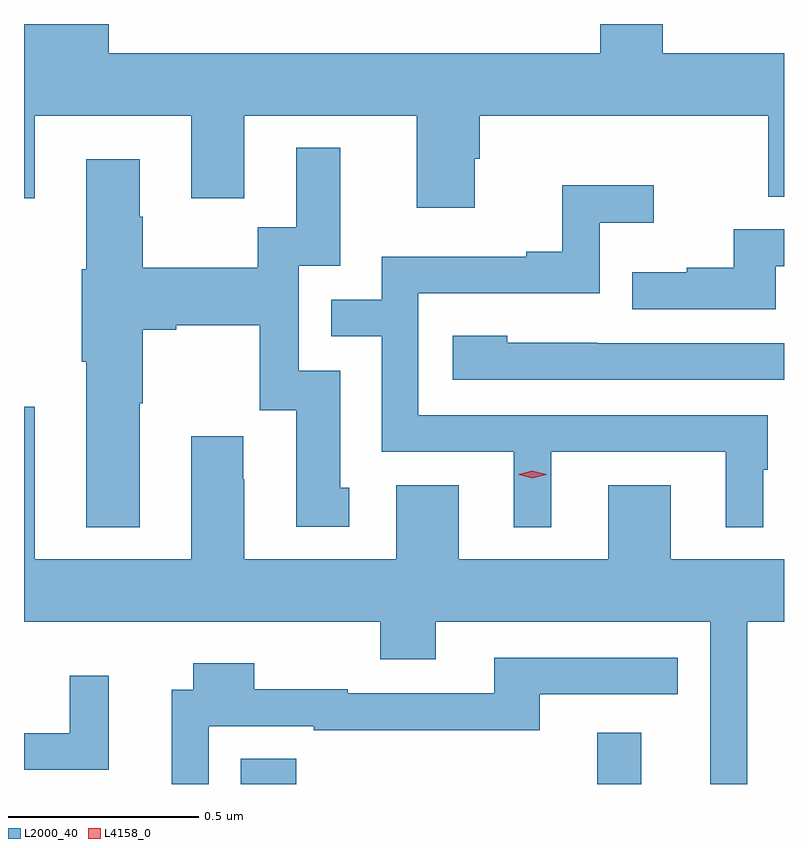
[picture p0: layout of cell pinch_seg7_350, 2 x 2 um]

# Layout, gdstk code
import gdstk
lib = gdstk.Library(unit=1e-6, precision=1e-09)
def R(c, l, rs):  # rectangles x0, y0, x1, y1
    for r in rs: c.add(gdstk.rectangle(r[:2], r[2:], *l))
def P(c, l, *ps):  # polygons
    for p in ps: c.add(gdstk.Polygon(p, *l))
L2000_40 = (2000, 40)
L4158_0 = (4158, 0)

pinch_seg7_350 = lib.new_cell('pinch_seg7_350')
R(pinch_seg7_350, L2000_40, [(438.898,1070.785,439.044,1070.852), (439.835,1070.785,439.951,1070.92)])
P(pinch_seg7_350, L2000_40, [(439.513,1072.431),(439.526,1072.431),(439.526,1072.544),(440.286,1072.544),(440.286,1072.33),(440.327,1072.33),(440.327,1072.708),(440.008,1072.708),(440.008,1072.785),(439.844,1072.785),(439.844,1072.708),(438.55,1072.708),(438.55,1072.785),(438.327,1072.785),(438.327,1072.326),(438.355,1072.326),(438.355,1072.544),(438.767,1072.544),(438.767,1072.326),(438.907,1072.326),(438.907,1072.544),(439.361,1072.544),(439.361,1072.302),(439.513,1072.302)],
  [(438.631,1071.787),(438.639,1071.787),(438.639,1071.98),(438.727,1071.98),(438.727,1071.992),(438.947,1071.992),(438.947,1071.768),(439.043,1071.768),(439.043,1071.462),(439.183,1071.462),(439.183,1071.564),(439.159,1071.564),(439.159,1071.873),(439.05,1071.873),(439.05,1072.149),(439.159,1072.149),(439.159,1072.459),(439.043,1072.459),(439.043,1072.25),(438.942,1072.25),(438.942,1072.144),(438.639,1072.144),(438.639,1072.278),(438.631,1072.278),(438.631,1072.429),(438.491,1072.429),(438.491,1072.14),(438.479,1072.14),(438.479,1071.896),(438.491,1071.896),(438.491,1071.461),(438.631,1071.461)],
  [(439.714,1071.66),(440.174,1071.66),(440.174,1071.461),(440.272,1071.461),(440.272,1071.612),(440.284,1071.612),(440.284,1071.756),(439.365,1071.756),(439.365,1072.077),(439.842,1072.077),(439.842,1072.262),(439.984,1072.262),(439.984,1072.361),(439.744,1072.361),(439.744,1072.186),(439.649,1072.186),(439.649,1072.173),(439.269,1072.173),(439.269,1072.059),(439.135,1072.059),(439.135,1071.963),(439.269,1071.963),(439.269,1071.66),(439.616,1071.66),(439.616,1071.461),(439.714,1071.461)],
  [(440.305,1072.148),(440.327,1072.148),(440.327,1072.245),(440.195,1072.245),(440.195,1072.144),(440.071,1072.144),(440.071,1072.132),(439.927,1072.132),(439.927,1072.035),(440.305,1072.035)],
  [(440.327,1071.945),(439.835,1071.945),(439.835,1071.946),(439.599,1071.946),(439.599,1071.964),(439.455,1071.964),(439.455,1071.849),(440.327,1071.849)],
  [(440.23,1071.212),(440.327,1071.212),(440.327,1071.376),(440.029,1071.376),(440.029,1071.571),(439.865,1071.571),(439.865,1071.376),(439.471,1071.376),(439.471,1071.571),(439.307,1071.571),(439.307,1071.376),(438.907,1071.376),(438.907,1071.587),(438.904,1071.587),(438.904,1071.7),(438.767,1071.7),(438.767,1071.376),(438.355,1071.376),(438.355,1071.778),(438.327,1071.778),(438.327,1071.212),(439.264,1071.212),(439.264,1071.113),(439.411,1071.113),(439.411,1071.212),(440.133,1071.212),(440.133,1070.785),(440.23,1070.785)],
  [(438.813,1070.937),(439.089,1070.937),(439.089,1070.927),(439.684,1070.927),(439.684,1071.021),(440.048,1071.021),(440.048,1071.117),(439.565,1071.117),(439.565,1071.024),(439.179,1071.024),(439.179,1071.034),(438.933,1071.034),(438.933,1071.103),(438.773,1071.103),(438.773,1071.033),(438.716,1071.033),(438.716,1070.785),(438.813,1070.785)],
  [(438.55,1071.07),(438.448,1071.07),(438.448,1070.919),(438.327,1070.919),(438.327,1070.822),(438.55,1070.822)])
P(pinch_seg7_350, L4158_0, [(439.665,1071.59),(439.629,1071.599),(439.629,1071.6),(439.629,1071.6),(439.665,1071.61),(439.701,1071.6),(439.701,1071.6),(439.701,1071.599)])

lib.write_gds('pinch_seg7_350.gds')
